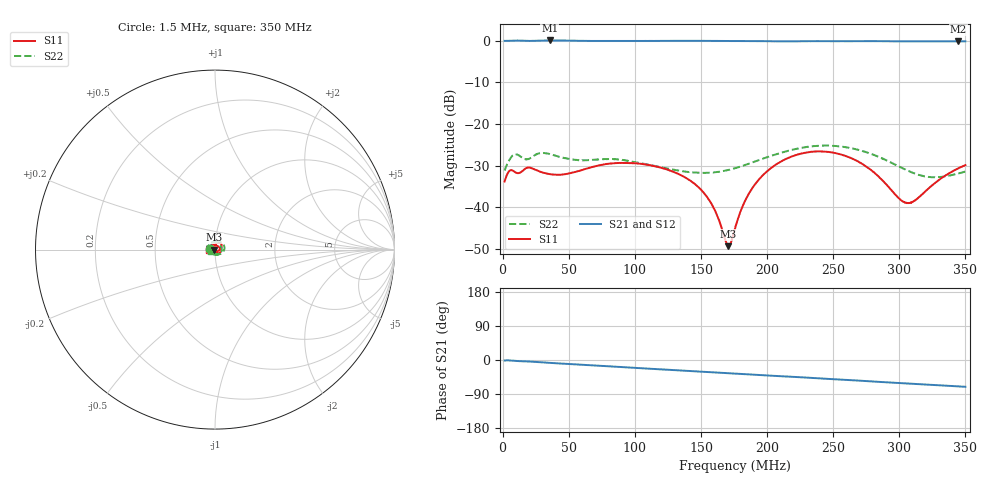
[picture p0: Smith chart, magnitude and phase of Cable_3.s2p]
# Hz S RI R 50
! RAW DATA - UNCALIBRATED
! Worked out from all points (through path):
!   1601 points, 1.5 MHz to 350 MHz, reference 50 ohm
!   highest |S21| = 0.04 dB at 35.7 MHz (marker M1); lowest = -0.2 dB at 344.6 MHz (marker M2)
!   group delay of S21, straight-line fit = 557 ps
!   lowest |S11| = -49.3 dB at 170.7 MHz (marker M3), VSWR 1.01, Z = 49.7 - j0.119 ohm
!   |S11| at or under -10 dB: start of sweep to end of sweep
!   |S22| runs from -32.8 to -25.1 dB; largest |S21 - S12| = 0.045
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1500000  -0.0204 0.0014  0.9923 -0.0231  0.9904 -0.0356  -0.0275 0.00233
5420625  -0.027 0.00563  0.9943 -0.0225  0.991 -0.0294  -0.0377 0.00269
9123438  -0.0233 0.0129  1.001 -0.0372  0.9863 -0.0373  -0.0402 0.0155
2.001406e7  -0.0135 0.0269  0.9883 -0.0698  0.9894 -0.0739  -0.0244 0.0296
3.569656e7  0.0103 0.0229  0.9953 -0.1332  0.9847 -0.1233  0.00369 0.0434
5.965594e7  0.0255 0.0113  0.9705 -0.215  0.9701 -0.208  0.0266 0.0253
8.68825e7  0.0331 -0.00805  0.9421 -0.3056  0.9368 -0.2941  0.0376 -0.00274
1.178119e8  0.0226 -0.0204  0.9039 -0.4083  0.9024 -0.3895  0.0107 -0.0289
1.51355e8  0.00529 -0.0145  0.8522 -0.511  0.8604 -0.4888  -0.0219 -0.0138
1.602853e8  0.000871 -0.00935  0.8337 -0.5376  0.8439 -0.5151  -0.026 -0.0045
1.707403e8  -0.00321 -0.00119  0.8115 -0.5651  0.8221 -0.5445  -0.027 0.00792
1.7575e8  -0.00448 0.00331  0.7999 -0.5789  0.8122 -0.5571  -0.0259 0.0141
1.846803e8  -0.00504 0.0122  0.7816 -0.6028  0.7932 -0.5809  -0.0214 0.0248
1.973134e8  -0.00167 0.0247  0.7516 -0.6372  0.7652 -0.6127  -0.0096 0.0374
2.143028e8  0.0101 0.0367  0.7112 -0.6747  0.7292 -0.6519  0.0132 0.045
2.339059e8  0.0275 0.0373  0.6678 -0.7238  0.69 -0.7002  0.0396 0.0364
2.650531e8  0.0362 0.0116  0.5839 -0.7913  0.61 -0.7715  0.0504 -0.00291
2.920619e8  0.0153 -0.00834  0.5026 -0.8444  0.5347 -0.824  0.0243 -0.0258
3.083978e8  -0.00138 -0.0113  0.4547 -0.8683  0.4891 -0.8491  0.00487 -0.0263
3.249516e8  -0.0159 -0.00929  0.4042 -0.8926  0.442 -0.8756  -0.0106 -0.0204
3.445547e8  -0.029 -0.00431  0.342 -0.9164  0.382 -0.9025  -0.0223 -0.0122
3.5e8  -0.032 -0.00266  0.3241 -0.9242  0.365 -0.9091  -0.0249 -0.0103
